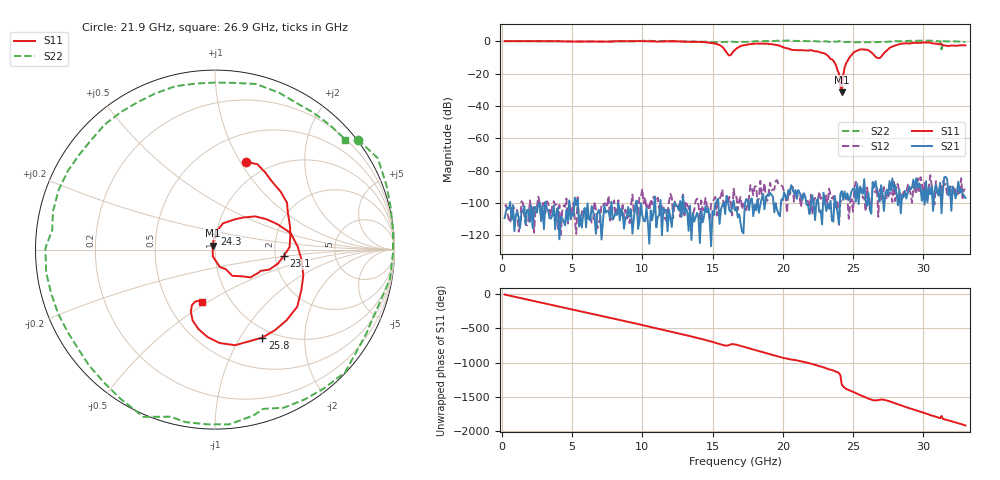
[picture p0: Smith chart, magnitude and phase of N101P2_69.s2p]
# GHZ S RI R 50
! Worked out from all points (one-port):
!   329 points, 200 MHz to 33 GHz, reference 50 ohm
!   lowest |S11| = -31.6 dB at 24.2 GHz (marker M1), VSWR 1.05, Z = 48.6 + j2.17 ohm
!   |S11| at or under -10 dB: 23.31 GHz to 24.76 GHz (1.445 GHz wide, 6.01 % of centre); 26.67 GHz to 26.95 GHz (285.7 MHz wide, 1.07 % of centre)
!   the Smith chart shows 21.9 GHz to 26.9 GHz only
!   S11 on the Smith chart (normalised r, x): 21.9 GHz: 0.79, +1.05; 23.1 GHz: 2.23, -0.19; 24.3 GHz: 0.98, +0.17; 25.8 GHz: 0.88, -1.25; 26.9 GHz: 0.73, -0.47
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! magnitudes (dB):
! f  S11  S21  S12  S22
! 200 MHz  0.0  -109.3  -101.7  0.0
! 5.7 GHz  -0.3  -115.1  -105.0  -0.3
! 11.2 GHz  -0.2  -107.6  -103.3  0.1
! 15.2 GHz  -1.5  -100.4  -96.2  -0.5
! 16.2 GHz  -8.9  -104.4  -96.1  -0.5
! 16.6 GHz  -5.3  -104.6  -96.8  -0.5
! 18.8 GHz  -1.5  -96.9  -96.5  0.1
! 21.9 GHz  -5.7  -106.9  -106.1  0.0
! 22.1 GHz  -5.8  -95.2  -107.0  0.2
! 23.1 GHz  -8.3  -105.0  -95.3  -0.1
! 23.8 GHz  -15.1  -100.9  -102.2  -0.2
! 24 GHz  -19.9  -112.9  -113.5  0.1
! 24.2 GHz  -31.6  -92.6  -98.4  -0.3
! 24.3 GHz  -21.1  -97.9  -99.2  -0.4
! 25 GHz  -7.3  -91.3  -105.3  -0.8
! 25.8 GHz  -5.1  -85.2  -96.5  -0.7
! 26.9 GHz  -10.4  -99.2  -92.1  -0.4
! 27.6 GHz  -4.2  -86.4  -93.9  -0.3
! 31.2 GHz  -2.0  -87.6  -87.9  0.0
! 31.3 GHz  -1.6  -106.3  -96.6  -5.1
! 31.4 GHz  -2.7  -91.9  -86.6  -0.1
! 33 GHz  -2.6  -96.9  -91.7  -0.5
